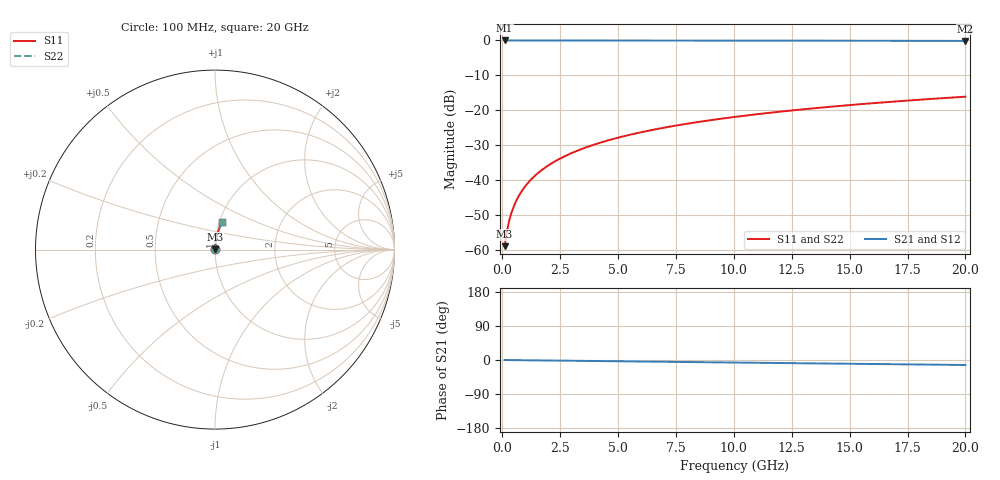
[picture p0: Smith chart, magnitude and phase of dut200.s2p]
! Touchstone file exported from HFSS 2026.1.0
!  File:  C:/ffzhzh/LocalFiles/Ansys_Project_Files/temp_train_BSMRDL_200_1782987711_41620.aedt
!  Generated:  06:23:10 PM Jul  2, 2026
!  Design:  BSMRDL
!  Project:  temp_train_BSMRDL_200_1782987711_41620
! Variables:
!  h_bsmrdl = 3.89um
!  h_ox = 20um
!  h_rdl = 5um
!  h_sub = 80um
!  h_tmrdl = 5um
!  h_tsv = 80um
!  h_via = 3um
!  l_bsmrdl = 127.13um
!  l_sub = 527.13um
!  l_tmrdl = 200um
!  m_sub = 200um
!  pitch = 57.87um
!  r_tsv = 6um
!  s_tmrdl = 10um
!  w_bsmrdl = 20.65um
!  w_sub = 500um
!  w_tmrdl = 12um
!  x_tsv_center1 = 206um
!  x_tsv_center2 = 353.78um
!  x_tsv_center3 = 565.78um
!  x_tsv_center4 = 713.56um
!  x_tsv_center5 = 925.56um
!  x_tsv_center6 = 1073.34um
# GHz S MA R 50.000000
! Terminal data exported
! Port[1] = BSM_RDL1_1_T1
! Port[2] = BSM_RDL1_1_T2
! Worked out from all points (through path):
!   200 points, 100 MHz to 20 GHz, reference 50 ohm
!   highest |S21| = -0.01 dB at 100 MHz (marker M1); lowest = -0.1 dB at 20 GHz (marker M2)
!   group delay of S21, straight-line fit = 1.83 ps
!   lowest |S11| = -58.8 dB at 100 MHz (marker M3), VSWR 1.00, Z = 50.1 + j0.0867 ohm
!   |S11| at or under -10 dB: start of sweep to end of sweep
!   |S22| runs from -58.8 to -16.1 dB; largest |S21 - S12| = 3.1e-15
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0.1  0.00115 48.9  0.9992 -0.1  0.9992 -0.1  0.00115 48.9
! Gamma 0 0 0 0
! Port Impedance 50 0 50 0
0.2  0.001889 65.3  0.9992 -0.1  0.9992 -0.1  0.001889 65.3
0.3  0.00268 72.1  0.9992 -0.2  0.9992 -0.2  0.00268 72.1
0.4  0.003481 75.7  0.9992 -0.3  0.9992 -0.3  0.003481 75.7
0.5  0.004284 78.0  0.9991 -0.3  0.9991 -0.3  0.004284 78.0
0.7  0.005897 80.8  0.9991 -0.5  0.9991 -0.5  0.005897 80.8
0.8  0.006706 81.7  0.9991 -0.5  0.9991 -0.5  0.006706 81.7
1  0.00833 83.0  0.999 -0.7  0.999 -0.7  0.00833 83.0
1.2  0.009959 83.8  0.999 -0.8  0.999 -0.8  0.009959 83.8
1.4  0.01159 84.3  0.999 -0.9  0.999 -0.9  0.01159 84.3
1.7  0.01404 84.8  0.9989 -1.2  0.9989 -1.2  0.01404 84.8
2  0.01649 85.1  0.9988 -1.4  0.9988 -1.4  0.01649 85.1
2.7  0.0222 85.3  0.9986 -1.8  0.9986 -1.8  0.0222 85.3
3.5  0.0287 85.2  0.9984 -2.4  0.9984 -2.4  0.0287 85.2
4.2  0.03437 85.0  0.9981 -2.8  0.9981 -2.8  0.03437 85.0
5  0.04081 84.6  0.9977 -3.4  0.9977 -3.4  0.04081 84.6
6.8  0.05521 83.6  0.9967 -4.6  0.9967 -4.6  0.05521 83.6
8.3  0.0671 82.7  0.9957 -5.6  0.9957 -5.6  0.0671 82.7
10.1  0.08126 81.7  0.9944 -6.7  0.9944 -6.7  0.08126 81.7
13.4  0.1069 79.7  0.9916 -8.9  0.9916 -8.9  0.1069 79.7
16.7  0.1322 77.7  0.9883 -11.0  0.9883 -11.0  0.1322 77.7
20  0.1571 75.6  0.9843 -13.2  0.9843 -13.2  0.1571 75.7
